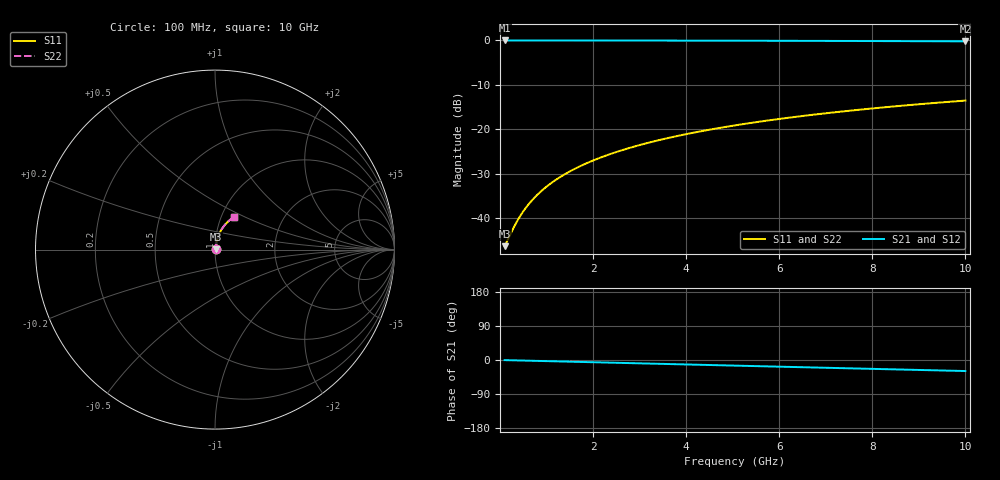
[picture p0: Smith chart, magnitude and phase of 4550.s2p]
# Hz S RI R 50.00
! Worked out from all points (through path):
!   100 points, 100 MHz to 10 GHz, reference 50 ohm
!   highest |S21| = -0.04 dB at 100 MHz (marker M1); lowest = -0.2 dB at 10 GHz (marker M2)
!   group delay of S21, straight-line fit = 8.1 ps
!   lowest |S11| = -46.3 dB at 100 MHz (marker M3), VSWR 1.01, Z = 50.4 + j0.222 ohm
!   |S11| at or under -10 dB: start of sweep to end of sweep
!   |S22| runs from -46.3 to -13.6 dB; largest |S21 - S12| = 0
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1e8  0.00432 0.0022  0.9957 -0.00511  0.9957 -0.00511  0.00432 0.0022
3e8  0.00446 0.00659  0.9955 -0.0153  0.9955 -0.0153  0.00446 0.00659
4e8  0.00455 0.00878  0.9954 -0.0205  0.9954 -0.0205  0.00455 0.00878
5e8  0.00467 0.011  0.9952 -0.0256  0.9952 -0.0256  0.00467 0.011
6e8  0.0048 0.0132  0.995 -0.0307  0.995 -0.0307  0.0048 0.0132
7e8  0.00496 0.0154  0.9948 -0.0358  0.9948 -0.0358  0.00496 0.0154
8e8  0.00514 0.0175  0.9946 -0.0409  0.9946 -0.0409  0.00514 0.0175
1e9  0.00556 0.0219  0.994 -0.0511  0.994 -0.0511  0.00556 0.0219
1.2e9  0.00607 0.0263  0.9933 -0.0613  0.9933 -0.0613  0.00607 0.0263
1.5e9  0.007 0.0328  0.992 -0.0766  0.992 -0.0766  0.007 0.0328
1.8e9  0.00813 0.0393  0.9904 -0.0918  0.9904 -0.0918  0.00813 0.0393
2.1e9  0.00946 0.0457  0.9886 -0.107  0.9886 -0.107  0.00946 0.0457
2.5e9  0.0115 0.0542  0.9857 -0.1272  0.9857 -0.1272  0.0115 0.0542
2.9e9  0.0139 0.0626  0.9824 -0.1473  0.9824 -0.1473  0.0139 0.0626
3.4e9  0.0174 0.073  0.9775 -0.1723  0.9775 -0.1723  0.0174 0.073
4.2e9  0.0241 0.0891  0.9682 -0.2118  0.9682 -0.2118  0.0241 0.0891
5.1e9  0.0331 0.1065  0.9555 -0.2555  0.9555 -0.2555  0.0331 0.1065
5.9e9  0.0425 0.1212  0.9424 -0.2935  0.9424 -0.2935  0.0425 0.1212
6.7e9  0.0529 0.135  0.9275 -0.3307  0.9275 -0.3307  0.0529 0.135
7.5e9  0.0644 0.1478  0.9111 -0.367  0.9111 -0.367  0.0644 0.1478
8.4e9  0.0784 0.1611  0.8907 -0.4066  0.8907 -0.4066  0.0784 0.1611
1e10  0.106 0.1813  0.85 -0.4734  0.85 -0.4734  0.106 0.1813
